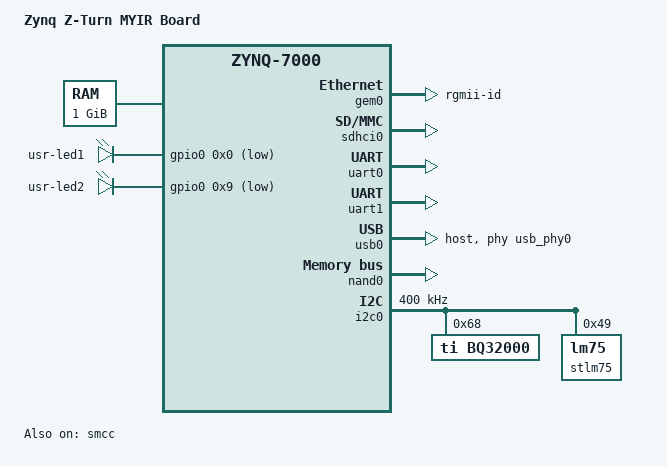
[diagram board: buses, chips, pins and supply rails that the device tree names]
// SPDX-License-Identifier: GPL-2.0
/*
 *  Copyright (C) 2015 Andrea Merello <adnrea.merello@gmail.com>
 *  Copyright (C) 2017 Alexander Graf <agraf@suse.de>
 *
 *  Based on zynq-zed.dts which is:
 *  Copyright (C) 2011 - 2014 Xilinx
 *  Copyright (C) 2012 National Instruments Corp.
 *
 */

/dts-v1/;
/include/ "zynq-7000.dtsi"

/ {
	model = "Zynq Z-Turn MYIR Board";
	compatible = "myir,zynq-zturn", "xlnx,zynq-7000";

	aliases {
		ethernet0 = &gem0;
		i2c0 = &i2c0;
		serial1 = &uart1;
		serial0 = &uart0;
		mmc0 = &sdhci0;
	};

	memory@0 {
		device_type = "memory";
		reg = <0x0 0x40000000>;
	};

	chosen {
		stdout-path = "serial1:115200n8";
	};

	gpio-leds {
		compatible = "gpio-leds";
		usr-led1 {
			label = "usr-led1";
			gpios = <&gpio0 0x0 0x1>;
			default-state = "off";
		};

		usr-led2 {
			label = "usr-led2";
			gpios = <&gpio0 0x9 0x1>;
			default-state = "off";
		};
	};
	usb_phy0: phy0@e0002000 {
		compatible = "ulpi-phy";
		#phy-cells = <0>;
		reg = <0xe0002000 0x1000>;
		view-port = <0x0170>;
		drv-vbus;
	};
};

&clkc {
	ps-clk-frequency = <33333333>;
};

&gem0 {
	status = "okay";
	phy-mode = "rgmii-id";
};

&sdhci0 {
	status = "okay";
};

&uart0 {
	status = "okay";
};

&uart1 {
	status = "okay";
};

&usb0 {
	status = "okay";
	dr_mode = "host";
	usb-phy = <&usb_phy0>;
};

&smcc {
	status = "okay";
};

&nand0 {
	status = "okay";

	partition@nand-data {
		label = "data";
		reg = <0x0 0x20000000>;
	};
};

&i2c0 {
	status = "okay";
	clock-frequency = <400000>;

	bq32000: rtc@68 {
		compatible = "ti,bq32000";
		reg = <0x68>;
	};

	stlm75@49 {
		status = "okay";
		compatible = "lm75";
		reg = <0x49>;
	};
};
